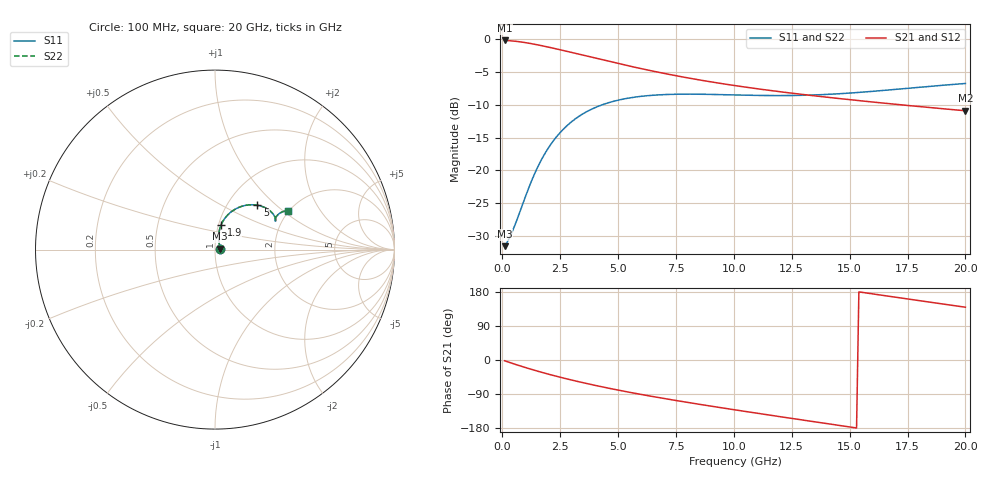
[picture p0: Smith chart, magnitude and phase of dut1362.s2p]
! Touchstone file exported from HFSS 2024.1.0
!  File:  C:/UserFiles/LocalFiles/RDL_TSV_Batchsim/temp_RDL_TSV_1362_1780396480.aedt
!  Generated:  06:49:27 PM Jun  2, 2026
!  Design:  RDL_TSV
!  Project:  temp_RDL_TSV_1362_1780396480
!  Setup:  Setup1
!  Solution:  Sweep
! Variables:
!  dtsv = 12.78um
!  hbump = 3um
!  htsv = 65.43um
!  ldown = 180.59um
!  lrdl = 650.84um
!  p = 40
!  p1 = 59.55um
!  rhole = 10um
!  subl = 3145.13um
!  t = 450um
!  tdown = 4.93um
!  trdl = 2.7um
!  viad = 10um
!  wdown = 26.61um
!  wrdl = 13.69um
!  xbump = 18um
# GHz S MA R 50.000000
! Terminal data exported
! Port[1] = TM1_1_T1
! Port[2] = TM1_4_T1
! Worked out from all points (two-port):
!   200 points, 100 MHz to 20 GHz, reference 50 ohm
!   highest |S21| = -0.23 dB at 100 MHz (marker M1); lowest = -10.9 dB at 20 GHz (marker M2)
!   |S21| within 3 dB of the highest: start of sweep to 4.393 GHz
!   lowest |S11| = -31.5 dB at 100 MHz (marker M3), VSWR 1.05, Z = 52.7 + j0.582 ohm
!   |S11| at or under -10 dB: start of sweep to 4.33 GHz
!   |S22| runs from -31.5 to -6.8 dB; largest |S21 - S12| = 7.3e-15
!   S11 on the Smith chart (normalised r, x): 100 MHz: 1.05, +0.01; 1.9 GHz: 1.03, +0.29; 5 GHz: 1.37, +0.77; 20 GHz: 1.97, +1.08
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0.1  0.02655 12.0  0.9735 -2.1  0.9735 -2.1  0.02655 12.0
! Gamma 0 0 0 0
! Port Impedance 50 0 50 0
0.3  0.03049 32.1  0.9696 -6.2  0.9696 -6.2  0.03049 32.1
0.5  0.03666 47.5  0.9629 -10.3  0.9629 -10.3  0.03666 47.5
1  0.06329 70.8  0.9373 -19.9  0.9373 -19.9  0.06329 70.8
1.4  0.09471 76.8  0.9106 -27.3  0.9106 -27.3  0.09471 76.8
1.9  0.1399 76.3  0.8735 -35.9  0.8735 -35.9  0.1399 76.3
2.2  0.1675 74.1  0.8503 -40.8  0.8503 -40.8  0.1675 74.1
2.6  0.2028 70.2  0.8193 -47.0  0.8193 -47.0  0.2028 70.2
3  0.2352 65.9  0.7886 -53.0  0.7886 -53.0  0.2353 65.9
3.5  0.2706 60.5  0.7514 -60.1  0.7514 -60.1  0.2707 60.5
4.2  0.3101 53.3  0.7021 -69.5  0.7021 -69.5  0.3102 53.4
5  0.3421 46.3  0.6506 -79.4  0.6506 -79.4  0.3422 46.3
5.9  0.3643 39.7  0.5994 -89.8  0.5994 -89.8  0.3644 39.7
6.8  0.3759 34.6  0.5552 -99.6  0.5552 -99.6  0.3759 34.6
8.4  0.38 28.5  0.4915 -115.8  0.4915 -115.8  0.3801 28.5
10.1  0.3747 25.5  0.4402 -132.1  0.4402 -132.1  0.3748 25.6
11.7  0.3709 25.3  0.4027 -146.9  0.4027 -146.9  0.3709 25.3
13.4  0.3746 26.6  0.3706 -162.3  0.3706 -162.3  0.3746 26.7
15  0.3874 28.2  0.3453 -176.7  0.3453 -176.7  0.3875 28.2
16.7  0.4092 29.2  0.322 168.2  0.322 168.2  0.4093 29.3
18.4  0.4348 29.1  0.3015 153.2  0.3015 153.2  0.435 29.2
20  0.4584 28.2  0.2843 139.3  0.2843 139.3  0.4586 28.2
